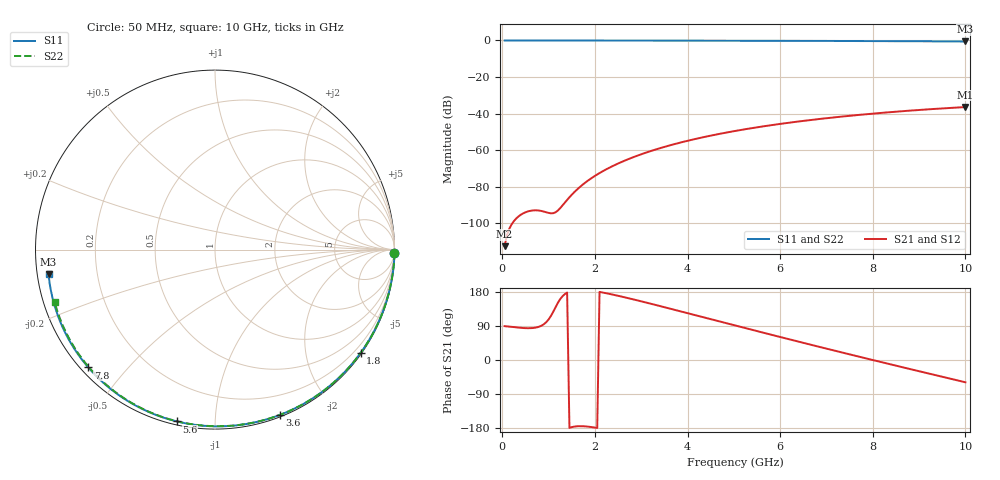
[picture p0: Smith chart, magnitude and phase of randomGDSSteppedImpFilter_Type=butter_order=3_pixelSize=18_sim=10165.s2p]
! freq	dB(S11)	phase(S11)	dB(S12)	phase(S12)
!  dB(S21)	phase(S21)	dB(S22)	phase(S22)
!S-par simulation data
#  GHz  S  DB  R 50
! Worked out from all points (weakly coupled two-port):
!   200 points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, 50 MHz to 10 GHz, reference 50 ohm
!   highest |S21| = -36.41 dB at 10 GHz (marker M1); lowest = -112.4 dB at 50 MHz (marker M2)
!   lowest |S11| = -0.6 dB at 10 GHz (marker M3), VSWR 31.01, Z = 1.62 - j3.67 ohm
!   |S11| at or under -10 dB: nowhere
!   |S22| runs from -0.5 to 0.0 dB; largest |S21 - S12| = 0
!   S11 on the Smith chart (normalised r, x): 50 MHz: open; 1.8 GHz: 0.03, -3.13; 3.6 GHz: 0.02, -1.46; 5.6 GHz: 0.02, -0.80; 7.8 GHz: 0.02, -0.39; 10 GHz: 0.03, -0.07
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0.05  -0.00 -1.0  -112.42 89.4  -112.42 89.4  -0.00 -0.9
0.45  -0.01 -9.0  -94.50 84.4  -94.50 84.4  -0.01 -8.5
0.85  -0.02 -16.9  -93.20 90.8  -93.20 90.8  -0.02 -15.9
1.65  -0.04 -32.5  -80.63 -174.7  -80.63 -174.7  -0.04 -30.6
1.7  -0.04 -33.5  -79.54 -174.6  -79.54 -174.6  -0.04 -31.5
1.75  -0.04 -34.5  -78.51 -174.8  -78.51 -174.8  -0.04 -32.4
1.8  -0.04 -35.4  -77.52 -175.3  -77.52 -175.3  -0.04 -33.3
2.1  -0.05 -41.1  -72.47 179.7  -72.47 179.7  -0.05 -38.7
2.3  -0.06 -44.9  -69.69 174.9  -69.69 174.9  -0.05 -42.3
2.5  -0.06 -48.7  -67.25 169.5  -67.25 169.5  -0.06 -45.8
2.9  -0.07 -56.1  -63.11 157.9  -63.11 157.9  -0.07 -52.8
3.4  -0.09 -65.1  -58.91 142.5  -58.91 142.5  -0.08 -61.4
3.6  -0.09 -68.7  -57.45 136.3  -57.45 136.3  -0.09 -64.8
4.3  -0.11 -80.9  -53.09 114.1  -53.09 114.1  -0.11 -76.4
5.05  -0.14 -93.5  -49.36 90.4  -49.36 90.4  -0.14 -88.4
5.6  -0.17 -102.6  -47.07 73.2  -47.07 73.2  -0.16 -97.0
6.15  -0.20 -111.4  -45.09 56.0  -45.09 56.0  -0.19 -105.3
6.7  -0.23 -120.0  -43.35 39.1  -43.35 39.1  -0.22 -113.6
7.8  -0.32 -137.1  -40.45 5.9  -40.45 5.9  -0.30 -129.7
8.35  -0.37 -145.6  -39.24 -10.5  -39.24 -10.5  -0.35 -137.8
9.2  -0.46 -158.8  -37.63 -35.5  -37.63 -35.5  -0.44 -150.2
10  -0.56 -171.6  -36.41 -58.8  -36.41 -58.8  -0.54 -162.1
